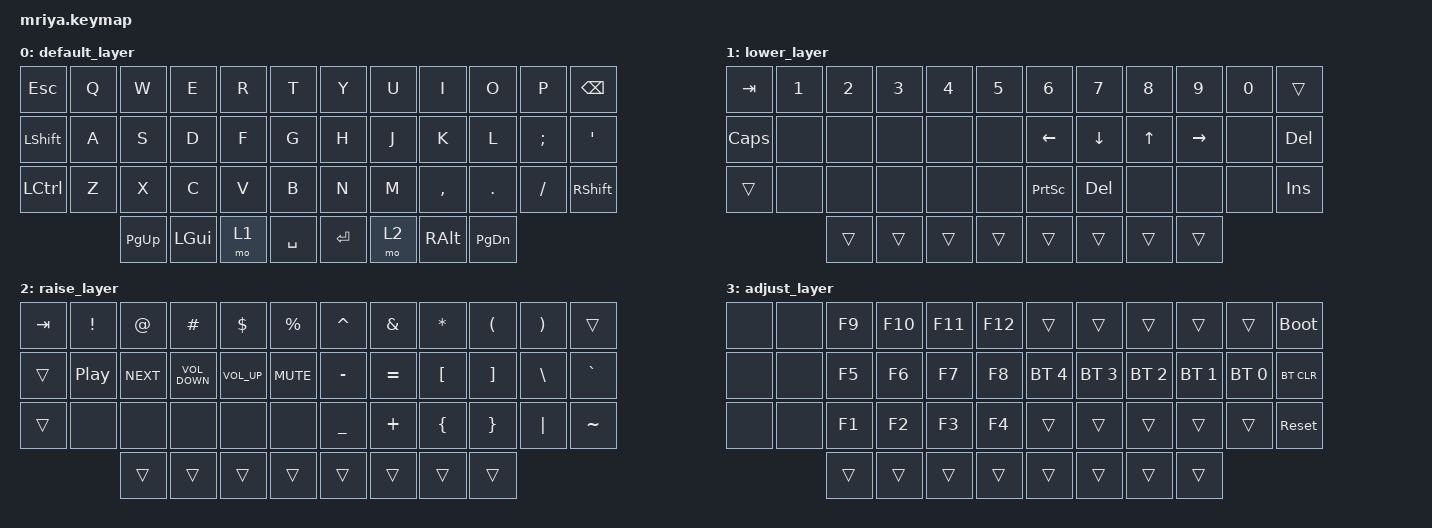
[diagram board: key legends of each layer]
/*
 * Copyright (c) 2023 Andrei Gaevskii
 *
 * SPDX-License-Identifier: MIT
 */

#include <behaviors.dtsi>
#include <dt-bindings/zmk/bt.h>
#include <dt-bindings/zmk/keys.h>

#define DEF 0
#define LWR 1
#define RSE 2
#define ADJ 3

&lt {
    quick_tap_ms = <200>;
};

&mt {
    quick_tap_ms = <200>;
};

/ {
    combos {
        compatible = "zmk,combos";

        new_combo {
            bindings = <&mo 3>;
            key-positions = <38 41>;
        };
    };

    keymap {
        compatible = "zmk,keymap";

        default_layer {
            bindings = <
     &kp ESC  &kp Q        &kp W         &kp E  &kp R      &kp T        &kp Y  &kp U      &kp I          &kp O     &kp P     &kp BACKSPACE
  &kp LSHIFT  &kp A        &kp S         &kp D  &kp F      &kp G        &kp H  &kp J      &kp K          &kp L  &kp SEMI  &kp SINGLE_QUOTE
   &kp LCTRL  &kp Z        &kp X         &kp C  &kp V      &kp B        &kp N  &kp M  &kp COMMA        &kp DOT  &kp FSLH        &kp RSHIFT
                     &kp PAGE_UP  &kp LEFT_GUI  &mo 1  &kp SPACE    &kp ENTER  &mo 2   &kp RALT  &kp PAGE_DOWN
            >;
        };

        lower_layer {
            bindings = <
   &kp TAB  &kp NUMBER_1  &kp NUMBER_2  &kp NUMBER_3  &kp N4  &kp N5            &kp N6          &kp N7        &kp N8           &kp N9  &kp N0   &trans
  &kp CLCK         &none         &none         &none   &none   &none    &kp LEFT_ARROW  &kp DOWN_ARROW  &kp UP_ARROW  &kp RIGHT_ARROW   &none  &kp DEL
    &trans         &none         &none         &none   &none   &none         &kp PSCRN         &kp DEL         &none            &none   &none  &kp INS
                                &trans        &trans  &trans  &trans            &trans          &trans        &trans           &trans
            >;
        };

        raise_layer {
            bindings = <
  &kp TAB   &kp EXCLAMATION      &kp AT           &kp HASH       &kp DOLLAR  &kp PERCENT    &kp CARET   &kp AMPS  &kp ASTRK  &kp LPAR       &kp RPAR     &trans
   &trans  &kp C_PLAY_PAUSE  &kp C_NEXT  &kp C_VOLUME_DOWN  &kp C_VOLUME_UP   &kp K_MUTE    &kp MINUS  &kp EQUAL   &kp LBKT  &kp RBKT  &kp BACKSLASH  &kp GRAVE
   &trans             &none       &none              &none            &none        &none    &kp UNDER   &kp PLUS   &kp LBRC  &kp RBRC       &kp PIPE  &kp TILDE
                                 &trans             &trans           &trans       &trans       &trans     &trans     &trans    &trans
            >;
        };

        adjust_layer {
            bindings = <
  &none  &none  &kp F9  &kp F10  &kp F11  &kp F12          &trans        &trans        &trans        &trans        &trans  &bootloader
  &none  &none  &kp F5   &kp F6   &kp F7   &kp F8    &bt BT_SEL 4  &bt BT_SEL 3  &bt BT_SEL 2  &bt BT_SEL 1  &bt BT_SEL 0   &bt BT_CLR
  &none  &none  &kp F1   &kp F2   &kp F3   &kp F4          &trans        &trans        &trans        &trans        &trans   &sys_reset
                &trans   &trans   &trans   &trans          &trans        &trans        &trans        &trans
            >;
        };
    };
};
